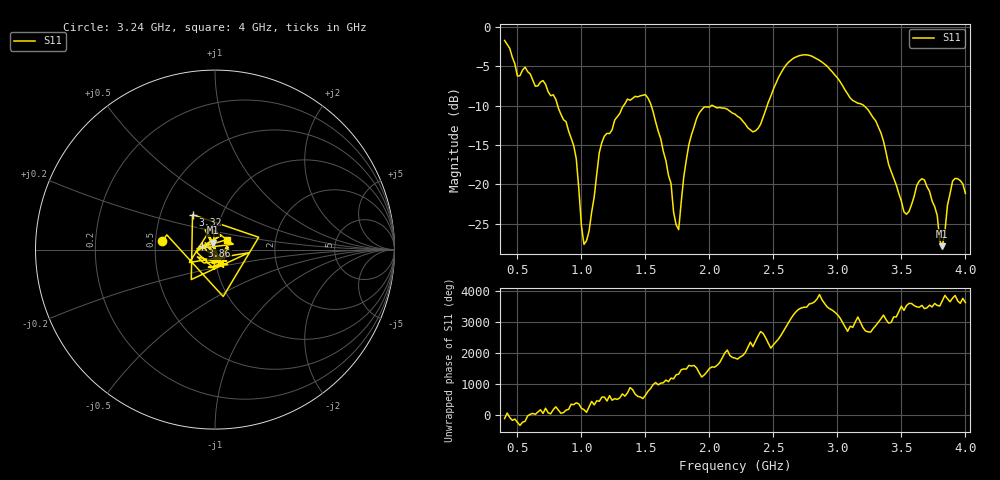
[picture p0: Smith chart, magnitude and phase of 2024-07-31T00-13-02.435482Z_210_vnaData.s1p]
!Created with skrf (http://scikit-rf.org).
# Hz S RI R 50.0
!freq ReS11 ImS11
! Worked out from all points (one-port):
!   181 points, 400 MHz to 4 GHz, reference 50 ohm
!   lowest |S11| = -27.8 dB at 3.82 GHz (marker M1), VSWR 1.08, Z = 48.9 + j3.86 ohm
!   |S11| at or under -10 dB: 814.5 MHz to 1.329 GHz (514.7 MHz wide, 48 % of centre); 1.546 GHz to 2.015 GHz (469 MHz wide, 26.3 % of centre); 3.207 GHz to end of sweep (the widest 3 of 4)
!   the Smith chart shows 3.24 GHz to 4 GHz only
!   S11 on the Smith chart (normalised r, x): 3.24 GHz: 0.54, +0.06; 3.32 GHz: 0.73, +0.30; 3.86 GHz: 0.87, +0.03; 4 GHz: 1.14, +0.13
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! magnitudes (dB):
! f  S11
! 400 MHz  -1.7
! 500 MHz  -6.2
! 700 MHz  -6.8
! 860 MHz  -11.8
! 960 MHz  -16.7
! 1.02 GHz  -27.6
! 1.06 GHz  -25.9
! 1.16 GHz  -14.6
! 1.3 GHz  -11.0
! 1.52 GHz  -9.0
! 1.66 GHz  -17.0
! 1.76 GHz  -25.7
! 1.84 GHz  -14.9
! 1.92 GHz  -10.9
! 2.2 GHz  -11.1
! 2.36 GHz  -13.2
! 2.66 GHz  -3.9
! 2.88 GHz  -4.5
! 3.1 GHz  -9.0
! 3.24 GHz  -10.5
! 3.32 GHz  -12.7
! 3.52 GHz  -23.5
! 3.56 GHz  -23.4
! 3.68 GHz  -19.4
! 3.82 GHz  -27.8
! 3.86 GHz  -22.6
! 3.92 GHz  -19.2
! 4 GHz  -21.1
